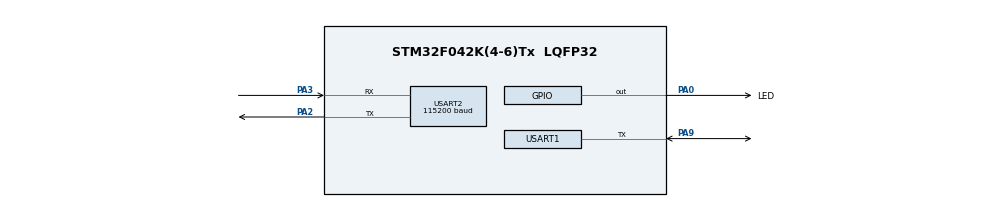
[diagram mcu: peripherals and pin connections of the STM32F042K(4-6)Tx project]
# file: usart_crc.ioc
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Mcu.Family=STM32F0
USART2.VirtualMode-Asynchronous=VM_ASYNC
USART1.BaudRate=115200
PA0.GPIO_Label=LED
Mcu.Name=STM32F042K(4-6)Tx
PA2.Signal=USART2_TX
PA0.Signal=GPIO_Output
USART2.BaudRate=115200
Mcu.Package=LQFP32
ProjectManager.StackSize=0x400
PA3.Mode=Asynchronous
USART1.VirtualMode-Half_duplex(single_wire_mode)=VM_ASYNC
PA9.Mode=Half_duplex(single_wire_mode)
ProjectManager.HeapSize=0x200
ProjectManager.TargetToolchain=SW4STM32
PA9.Signal=USART1_TX
PA2.Mode=Asynchronous
PA3.Signal=USART2_RX
board=custom

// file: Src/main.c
/* USER CODE BEGIN Header */
/**
  ******************************************************************************
  * @file           : main.c
  * @brief          : Main program body
  ******************************************************************************
  * @attention
  *
  * <h2><center>&copy; Copyright (c) 2020 STMicroelectronics.
  * All rights reserved.</center></h2>
  *
  * This software component is licensed by ST under BSD 3-Clause license,
  * the "License"; You may not use this file except in compliance with the
  * License. You may obtain a copy of the License at:
  *                        opensource.org/licenses/BSD-3-Clause
  *
  ******************************************************************************
  */
/* USER CODE END Header */

#include "main.h"

/* USER CODE BEGIN Includes */
#include <stdlib.h>
#include <string.h>
#include <assert.h>
#include <stream.h>
#include "tinyprintf.h"
/* USER CODE END Includes */

UART_HandleTypeDef huart1;
UART_HandleTypeDef huart2;

void SystemClock_Config(void);
static void MX_GPIO_Init(void);
static void MX_USART1_UART_Init(void);
static void MX_USART2_UART_Init(void);

/* USER CODE BEGIN 0 */
static void uart_putf(void *unused, char c) {
    HAL_StatusTypeDef status;
    do {
        status = HAL_UART_Transmit(&huart1, (uint8_t*)&c, 1, 1000);
    } while (status == HAL_BUSY);
}

static void uart_printf_enter(void) {

}

static void uart_printf_exit(void) {

}

uint32_t crc32_for_byte(uint32_t r) {
    for(int j = 0; j < 8; ++j)
        r = (r & 1? 0: (uint32_t)0xEDB88320L) ^ r >> 1;
    return r ^ (uint32_t)0xFF000000L;
}

void crc32(const void *data, size_t n_bytes, uint32_t* crc) {
    static uint32_t table[0x100];
    if(!*table)
        for(size_t i = 0; i < 0x100; ++i)
            table[i] = crc32_for_byte(i);
    for(size_t i = 0; i < n_bytes; ++i)
        *crc = table[(uint8_t)*crc ^ ((uint8_t*)data)[i]] ^ *crc >> 8;
}

int message_read_buf(stream_t* stream, uint8_t* data) {
    // TODO: BUG HERE DoS
    size_t len = stream->ops->get_byte(stream, 3);
    // TODO: BUG HERE StackBOF
    stream->ops->to_buffer(stream, data, len, 4, 0);
    return len;
}

enum COMMAND {
    CMD_CRC32_ROUND = 0xE0,
    CMD_SEED_RST,
    CMD_SEED_ZERO,
    CMD_CRC32_DUMP,
    CMD_CRC32_GET,
    CMD_CRC32_DBG,
    CMD_SEED_INC,
    CMD_SEED_DEC
};

void process_message(stream_t* stream) {
    static uint32_t crc = 0xDEADBEEF;

    uint8_t data[16] = { 0 };

    uint8_t magick0 = stream->ops->get_byte(stream, 0);
    uint8_t magick1 = stream->ops->get_byte(stream, 1);

    if (magick0 == 0xC0 && magick1 == 0xBA) {

        // TODO: BUG HERE DoS
        uint8_t cmd = stream->ops->get_byte(stream, 2);

        switch (cmd) {
            case CMD_CRC32_ROUND: {
                int len = message_read_buf(stream, data);
                crc32(data, len, &crc);
                break;
            }

            case CMD_SEED_RST: {
                crc = 0xDEADBEEF;
                break;
            }

            case CMD_SEED_ZERO: {
                crc = 0;
                break;
            }

            case CMD_CRC32_DUMP: {
                int len = message_read_buf(stream, data);
                printf("Dump received data:\n");
                for (int k = 0; k < len; k++)
                    printf("%02X ", data[k]);
                printf("\n");
                break;
            }

            case CMD_CRC32_GET: {
                char response[13] = { 0 };
                sprintf(response + 0, "x%02X", (crc >> 24) & 0xFF);
                sprintf(response + 3, "x%02X", (crc >> 16) & 0xFF);
                sprintf(response + 6, "x%02X", (crc >>  8) & 0xFF);
                sprintf(response + 9, "x%02X", (crc >>  0) & 0xFF);
                response[12] = 'm';
                assert(HAL_OK == HAL_UART_Transmit(&huart2, (uint8_t*) response, 13, 5000));
                break;
            }

            case CMD_CRC32_DBG: {
                printf("debug = %08lX\n", crc);
                break;
            }

            case CMD_SEED_INC: {
                crc += 1;
                break;
            }

            case CMD_SEED_DEC: {
                crc -= 1;
                break;
            }

            default: {
                printf("Unknown command: %02X\n", cmd);
                break;
            }
        }
    } else {
        printf("Received unknown packet start marker: %02X %02X -> bail out!\n", magick0, magick1);
    }
}

uint8_t convert_octet(char ch) {
    if (ch >= 'A' && ch <= 'F')
        return ch - 'A' + 0xA;

    if (ch >= 'a' && ch <= 'f')
        return ch - 'a' + 0xA;

    if (ch >= '0' && ch <= '9')
        return ch - '0';

    return 0xFF;
}

enum STATE { STATE_IDLE = 0x10, STATE_BYTE, STATE_OCTET1, STATE_OCTET2, STATE_MESSAGE, STATE_SHRINK, STATE_RESET };
enum ACTION { ACTION_CONTINUE, ACTION_DONE, ACTION_ERROR };

int sm_message_parser(char ch, stream_t* stream) {
    static uint8_t tmp = 0;
    static int state = STATE_IDLE;

    switch (state) {
        case STATE_IDLE: {
            switch (ch) {
                case 'x': {
                    state = STATE_BYTE;
                    return ACTION_CONTINUE;
                }
                case 'r': {
                    state = STATE_RESET;
                    return ACTION_CONTINUE;
                }
                case 'm': {
                    state = STATE_MESSAGE;
                    return ACTION_CONTINUE;
                }
                case 's': {
                    state = STATE_SHRINK;
                    return ACTION_CONTINUE;
                }
                default: {
                    printf("Unknown message command value: '%c'\n", ch);
                    state = STATE_IDLE;
                    return ACTION_DONE;
                }
            }
        }

        case STATE_BYTE: {
            tmp = 0;
            state = STATE_OCTET1;
            return ACTION_DONE;
        }

        case STATE_OCTET1: {
            uint8_t octet = convert_octet(ch);
            if (octet != 0xFF) {
                tmp |= octet << 4;
                state = STATE_OCTET2;
            } else {
                state = STATE_IDLE;
            }
            return ACTION_DONE;
        }

        case STATE_OCTET2: {
            uint8_t octet = convert_octet(ch);
            if (octet != 0xFF) {
                tmp |= octet << 0;
                stream->ops->add(stream, tmp);
            }
            state = STATE_IDLE;
            return ACTION_DONE;
        }

        case STATE_RESET: {
            stream->ops->reset(stream);
            return ACTION_DONE;
        }

        case STATE_SHRINK: {
            stream->ops->shrink(stream);
            return ACTION_DONE;
        }

        case STATE_MESSAGE: {
            process_message(stream);
            stream->ops->reset(stream);
            state = STATE_IDLE;
            return ACTION_DONE;
        }

        default: {
//            printf("Unknown message parser state: %08X\n", state);
            state = STATE_IDLE;
            return ACTION_DONE;
        }
    }
}

/* USER CODE END 0 */

int main(void)
{
  /* USER CODE BEGIN 1 */
    init_printf(NULL, uart_putf, uart_printf_enter, uart_printf_exit);
  /* USER CODE END 1 */

  /* MCU Configuration--------------------------------------------------------*/

  /* Reset of all peripherals, Initializes the Flash interface and the Systick. */
  HAL_Init();

  /* USER CODE BEGIN Init */

//    xC0xBAxE0x02xAAxBBmxC0xBAxE4m       CMD_CRC32_ROUND
//    xC0xBAxE0x02xCCxDDmxC0xBAxE4m       CMD_CRC32_ROUND
//    xC0xBAxE0x40xCCxDDxCCxDDxCCxDDxCCxDDxCCxDDxCCxDDxCCxDDxCCxDDxAAxAAxAAxAAxAAxAAxAAxAAxAAxAAxAAxAAxAAxAAxAAxAAxCCxDDxCCxDDxCCxDDxCCxDDxCCxDDxCCxDDxCCxDDxCCxDDxAAxAAxAAxAAxAAxAAxAAxAAxAAxAAxAAxAAxAAxAAxAAxAAm       CMD_CRC32_ROUND
//    xC0xBAxE5m                          CMD_CRC32_GET
//    xC0xBAxE3x02xAAxBBm                 CMD_CRC32_DUMP

  /* USER CODE END Init */

  /* Configure the system clock */
  SystemClock_Config();

  /* Initialize all configured peripherals */
  MX_GPIO_Init();
  MX_USART1_UART_Init();
  MX_USART2_UART_Init();
  /* USER CODE BEGIN 2 */
    printf("Initialization done\n");
  /* USER CODE END 2 */

  /* Infinite loop */
  /* USER CODE BEGIN WHILE */
#pragma clang diagnostic push
#pragma clang diagnostic ignored "-Wmissing-noreturn"
    HAL_StatusTypeDef status;
    stream_t* stream = new_stream();
  while (1)
  {
      char ch = 0;
      status = HAL_UART_Receive(&huart2, (uint8_t*)&ch, 1, HAL_MAX_DELAY);
      if (status == HAL_TIMEOUT)
          continue;

      assert(HAL_OK == HAL_UART_Transmit(&huart2, (uint8_t*)&ch, 1, 1000));

      int action;
      do {
          action = sm_message_parser(ch, stream);
      } while (action == ACTION_CONTINUE);

      if (action == ACTION_ERROR) {
          stream->ops->destroy(stream);
          Error_Handler();
      }

    /* USER CODE END WHILE */

    /* USER CODE BEGIN 3 */
  }
#pragma clang diagnostic pop

  /* USER CODE END 3 */
}

void SystemClock_Config(void)
{
  RCC_OscInitTypeDef RCC_OscInitStruct = {0};
  RCC_ClkInitTypeDef RCC_ClkInitStruct = {0};
  RCC_PeriphCLKInitTypeDef PeriphClkInit = {0};

  /** Initializes the CPU, AHB and APB busses clocks
  */
  RCC_OscInitStruct.OscillatorType = RCC_OSCILLATORTYPE_HSI;
  RCC_OscInitStruct.HSIState = RCC_HSI_ON;
  RCC_OscInitStruct.HSICalibrationValue = RCC_HSICALIBRATION_DEFAULT;
  RCC_OscInitStruct.PLL.PLLState = RCC_PLL_NONE;
  if (HAL_RCC_OscConfig(&RCC_OscInitStruct) != HAL_OK)
  {
    Error_Handler();
  }
  /** Initializes the CPU, AHB and APB busses clocks
  */
  RCC_ClkInitStruct.ClockType = RCC_CLOCKTYPE_HCLK|RCC_CLOCKTYPE_SYSCLK
                              |RCC_CLOCKTYPE_PCLK1;
  RCC_ClkInitStruct.SYSCLKSource = RCC_SYSCLKSOURCE_HSI;
  RCC_ClkInitStruct.AHBCLKDivider = RCC_SYSCLK_DIV1;
  RCC_ClkInitStruct.APB1CLKDivider = RCC_HCLK_DIV1;

  if (HAL_RCC_ClockConfig(&RCC_ClkInitStruct, FLASH_LATENCY_0) != HAL_OK)
  {
    Error_Handler();
  }
  PeriphClkInit.PeriphClockSelection = RCC_PERIPHCLK_USART1;
  PeriphClkInit.Usart1ClockSelection = RCC_USART1CLKSOURCE_PCLK1;
  if (HAL_RCCEx_PeriphCLKConfig(&PeriphClkInit) != HAL_OK)
  {
    Error_Handler();
  }
}

static void MX_USART1_UART_Init(void)
{

  huart1.Instance = USART1;
  huart1.Init.BaudRate = 115200;
  huart1.Init.WordLength = UART_WORDLENGTH_8B;
  huart1.Init.StopBits = UART_STOPBITS_1;
  huart1.Init.Parity = UART_PARITY_NONE;
  huart1.Init.Mode = UART_MODE_TX_RX;
  huart1.Init.HwFlowCtl = UART_HWCONTROL_NONE;
  huart1.Init.OverSampling = UART_OVERSAMPLING_16;
  huart1.Init.OneBitSampling = UART_ONE_BIT_SAMPLE_DISABLE;
  huart1.AdvancedInit.AdvFeatureInit = UART_ADVFEATURE_NO_INIT;
  if (HAL_HalfDuplex_Init(&huart1) != HAL_OK)
  {
    Error_Handler();
  }

}

static void MX_USART2_UART_Init(void)
{

  huart2.Instance = USART2;
  huart2.Init.BaudRate = 115200;
  huart2.Init.WordLength = UART_WORDLENGTH_8B;
  huart2.Init.StopBits = UART_STOPBITS_1;
  huart2.Init.Parity = UART_PARITY_NONE;
  huart2.Init.Mode = UART_MODE_TX_RX;
  huart2.Init.HwFlowCtl = UART_HWCONTROL_NONE;
  huart2.Init.OverSampling = UART_OVERSAMPLING_16;
  huart2.Init.OneBitSampling = UART_ONE_BIT_SAMPLE_DISABLE;
  huart2.AdvancedInit.AdvFeatureInit = UART_ADVFEATURE_NO_INIT;
  if (HAL_UART_Init(&huart2) != HAL_OK)
  {
    Error_Handler();
  }

}

static void MX_GPIO_Init(void)
{
  GPIO_InitTypeDef GPIO_InitStruct = {0};

  /* GPIO Ports Clock Enable */
  __HAL_RCC_GPIOA_CLK_ENABLE();

  /*Configure GPIO pin Output Level */
  HAL_GPIO_WritePin(LED_GPIO_Port, LED_Pin, GPIO_PIN_RESET);

  /*Configure GPIO pin : LED_Pin */
  GPIO_InitStruct.Pin = LED_Pin;
  GPIO_InitStruct.Mode = GPIO_MODE_OUTPUT_PP;
  GPIO_InitStruct.Pull = GPIO_NOPULL;
  GPIO_InitStruct.Speed = GPIO_SPEED_FREQ_LOW;
  HAL_GPIO_Init(LED_GPIO_Port, &GPIO_InitStruct);

}

void Error_Handler(void)
{
  /* USER CODE BEGIN Error_Handler_Debug */
  /* User can add his own implementation to report the HAL error return state */
  printf("Critical error occurred, can't continue...\n");
  /* USER CODE END Error_Handler_Debug */
}

/************************ (C) COPYRIGHT STMicroelectronics *****END OF FILE****/
